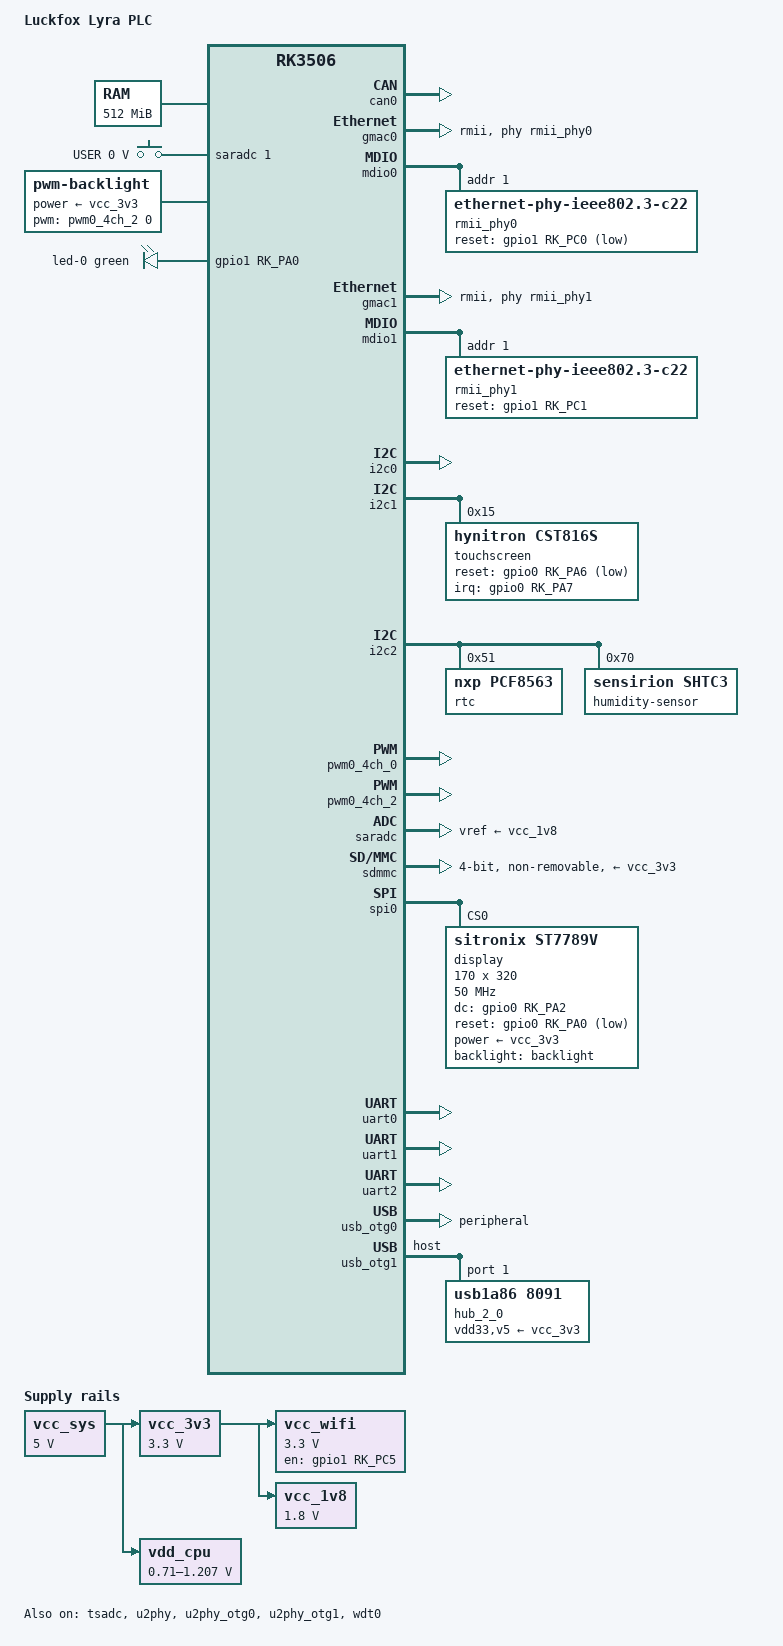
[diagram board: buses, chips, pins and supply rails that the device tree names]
// SPDX-License-Identifier: (GPL-2.0+ OR MIT)
/*
 * Luckfox Lyra PLC: RK3506B DIN-rail controller with a 1.9" ST7789V SPI panel and CST816S touch,
 * two RMII Ethernet ports, RS232 (UART1), RS485/RS422 (UART2), CAN, two relays, PCF8563 RTC and
 * an SHTC3 humidity sensor. The PoE and non-PoE variants are identical to software.
 */

/dts-v1/;
#include <dt-bindings/gpio/gpio.h>
#include <dt-bindings/input/input.h>
#include <dt-bindings/interrupt-controller/irq.h>
#include <dt-bindings/leds/common.h>
#include <dt-bindings/pinctrl/rockchip.h>
#include <dt-bindings/pwm/pwm.h>
#include "rk3506.dtsi"

/ {
	model = "Luckfox Lyra PLC";
	compatible = "luckfox,lyra-plc", "rockchip,rk3506";

	aliases {
		ethernet0 = &gmac0;
		ethernet1 = &gmac1;
		mmc0 = &sdmmc;
	};

	chosen {
		stdout-path = "serial0:1500000n8";
	};

	memory@0 {
		device_type = "memory";
		reg = <0x0 0x20000000>;
	};

	adc-keys {
		compatible = "adc-keys";
		io-channels = <&saradc 1>;
		io-channel-names = "buttons";
		keyup-threshold-microvolt = <1800000>;
		poll-interval = <100>;

		button-user {
			label = "USER";
			linux,code = <KEY_VENDOR>;
			press-threshold-microvolt = <0>;
		};
	};

	/*
	 * GPIO1_C5 is the power enable of the AIC8800DC Wi-Fi/BT module (the
	 * vendor tree calls it BT,power_gpio and lets rfkill raise it; the chip
	 * only shows up on the USB hub once it is high). Described as the
	 * module's supply, switched by the onboard USB device driver from the
	 * hub's port node below; the module carries both radios, so this one
	 * rail cuts Bluetooth too.
	 */
	vcc_wifi: regulator-wifi {
		compatible = "regulator-fixed";
		regulator-name = "vcc_wifi";
		regulator-min-microvolt = <3300000>;
		regulator-max-microvolt = <3300000>;
		gpio = <&gpio1 RK_PC5 GPIO_ACTIVE_HIGH>;
		enable-active-high;
		startup-delay-us = <100000>;
		vin-supply = <&vcc_3v3>;
	};

	backlight: backlight {
		compatible = "pwm-backlight";
		pwms = <&pwm0_4ch_2 0 25000 PWM_POLARITY_INVERTED>;
		brightness-levels = <0 20 40 60 80 100 120 140 160 180 200 220 240 255>;
		default-brightness-level = <10>;
		power-supply = <&vcc_3v3>;
	};

	leds {
		compatible = "gpio-leds";

		led-0 {
			color = <LED_COLOR_ID_GREEN>;
			function = LED_FUNCTION_HEARTBEAT;
			gpios = <&gpio1 RK_PA0 GPIO_ACTIVE_HIGH>;
			linux,default-trigger = "heartbeat";
		};
	};

	vcc_sys: regulator-vcc-sys {
		compatible = "regulator-fixed";
		regulator-name = "vcc_sys";
		regulator-always-on;
		regulator-boot-on;
		regulator-min-microvolt = <5000000>;
		regulator-max-microvolt = <5000000>;
	};

	vcc_3v3: regulator-vcc-3v3 {
		compatible = "regulator-fixed";
		regulator-name = "vcc_3v3";
		regulator-always-on;
		regulator-boot-on;
		regulator-min-microvolt = <3300000>;
		regulator-max-microvolt = <3300000>;
		vin-supply = <&vcc_sys>;
	};

	vcc_1v8: regulator-vcc-1v8 {
		compatible = "regulator-fixed";
		regulator-name = "vcc_1v8";
		regulator-always-on;
		regulator-boot-on;
		regulator-min-microvolt = <1800000>;
		regulator-max-microvolt = <1800000>;
		vin-supply = <&vcc_3v3>;
	};

	/*
	 * The core voltage is a PWM-driven buck: pwm0 channel 0 on RM_IO21,
	 * 5 us period, inverted. U-Boot sets it up; Linux keeps the PWM
	 * running and leaves the voltage alone until an OPP table asks for
	 * more.
	 */
	vdd_cpu: regulator-vdd-cpu {
		compatible = "pwm-regulator";
		pwms = <&pwm0_4ch_0 0 5000 PWM_POLARITY_INVERTED>;
		regulator-name = "vdd_cpu";
		regulator-always-on;
		regulator-boot-on;
		regulator-min-microvolt = <710000>;
		regulator-max-microvolt = <1207000>;
		vin-supply = <&vcc_sys>;
	};
};

/* CAN0 on RM_IO12/13; 120 ohm termination by switch on the terminal block. */
&can0 {
	assigned-clocks = <&cru CLK_CAN0>;
	assigned-clock-rates = <200000000>;
	pinctrl-names = "default";
	pinctrl-0 = <&rm_io12_can0_tx>, <&rm_io13_can0_rx>;
	status = "okay";
};

&cpu0 {
	cpu-supply = <&vdd_cpu>;
};

&cpu1 {
	cpu-supply = <&vdd_cpu>;
};

&cpu2 {
	cpu-supply = <&vdd_cpu>;
};

&gmac0 {
	assigned-clocks = <&cru CLK_MAC_OUT>;
	assigned-clock-rates = <25000000>;
	clock_in_out = "output";
	phy-handle = <&rmii_phy0>;
	phy-mode = "rmii";
	pinctrl-names = "default";
	pinctrl-0 = <&eth_clk0_25m_out_pins>, <&eth_rmii0_miim_pins>, <&eth_rmii0_tx_bus2_pins>,
		    <&eth_rmii0_rx_bus2_pins>, <&eth_rmii0_clk_pins>;
	status = "okay";
};

&mdio0 {
	rmii_phy0: ethernet-phy@1 {
		compatible = "ethernet-phy-ieee802.3-c22";
		reg = <1>;
		clocks = <&cru CLK_MAC_OUT>;
		reset-gpios = <&gpio1 RK_PC0 GPIO_ACTIVE_LOW>;
		reset-assert-us = <20000>;
		reset-deassert-us = <100000>;
	};
};

&gmac1 {
	assigned-clocks = <&cru CLK_MAC_OUT>;
	assigned-clock-rates = <25000000>;
	clock_in_out = "output";
	phy-handle = <&rmii_phy1>;
	phy-mode = "rmii";
	pinctrl-names = "default";
	pinctrl-0 = <&eth_clk1_25m_out_pins>, <&eth_rmii1_miim_pins>, <&eth_rmii1_tx_bus2_pins>,
		    <&eth_rmii1_rx_bus2_pins>, <&eth_rmii1_clk_pins>;
	status = "okay";
};

&mdio1 {
	rmii_phy1: ethernet-phy@1 {
		compatible = "ethernet-phy-ieee802.3-c22";
		reg = <1>;
		clocks = <&cru CLK_MAC_OUT>;
		reset-gpios = <&gpio1 RK_PC1 GPIO_ACTIVE_HIGH>;
		reset-assert-us = <20000>;
		reset-deassert-us = <100000>;
	};
};

&gpio0 {
	gpio-line-names =
		"lcd-reset", "", "lcd-dc", "", "", "", "touch-reset", "touch-irq",
		"", "", "", "", "", "", "", "rs485-txen",
		"", "relay0", "relay1", "", "", "", "", "",
		"", "", "", "", "", "", "", "";
};

/* External I2C header */
&i2c0 {
	pinctrl-names = "default";
	pinctrl-0 = <&rm_io30_i2c0_scl>, <&rm_io31_i2c0_sda>;
	status = "okay";
};

&i2c1 {
	pinctrl-names = "default";
	pinctrl-0 = <&rm_io9_i2c1_scl>, <&rm_io8_i2c1_sda>;
	status = "okay";

	touchscreen@15 {
		compatible = "hynitron,cst816s";
		reg = <0x15>;
		interrupt-parent = <&gpio0>;
		interrupts = <RK_PA7 IRQ_TYPE_EDGE_FALLING>;
		reset-gpios = <&gpio0 RK_PA6 GPIO_ACTIVE_LOW>;
	};
};

&i2c2 {
	pinctrl-names = "default";
	pinctrl-0 = <&rm_io28_i2c2_scl>, <&rm_io29_i2c2_sda>;
	status = "okay";

	rtc@51 {
		compatible = "nxp,pcf8563";
		reg = <0x51>;
		#clock-cells = <0>;
	};

	humidity-sensor@70 {
		compatible = "sensirion,shtc3";
		reg = <0x70>;
	};
};

&pwm0_4ch_0 {
	pinctrl-names = "default";
	pinctrl-0 = <&rm_io21_pwm0_ch0>;
	status = "okay";
};

&pwm0_4ch_2 {
	pinctrl-names = "default";
	pinctrl-0 = <&rm_io5_pwm0_ch2>;
	status = "okay";
};

&saradc {
	vref-supply = <&vcc_1v8>;
	status = "okay";
};

/* 8 GB eMMC, 4-bit DDR52 as the vendor image runs it */
&sdmmc {
	bus-width = <4>;
	cap-mmc-highspeed;
	disable-wp;
	max-frequency = <52000000>;
	mmc-ddr-1_8v;
	no-sd;
	no-sdio;
	non-removable;
	pinctrl-names = "default";
	pinctrl-0 = <&sdmmc_clk_pins>, <&sdmmc_cmd_pins>, <&sdmmc_bus4_pins>;
	vmmc-supply = <&vcc_3v3>;
	vqmmc-supply = <&vcc_1v8>;
	status = "okay";
};

/* 1.9" 170x320 ST7789V panel, fbtft */
&spi0 {
	pinctrl-names = "default";
	pinctrl-0 = <&rm_io1_spi0_clk>, <&rm_io4_spi0_mosi>, <&rm_io3_spi0_csn0>;
	status = "okay";

	display@0 {
		compatible = "sitronix,st7789v";
		reg = <0>;
		spi-max-frequency = <50000000>;
		power-supply = <&vcc_3v3>;
		backlight = <&backlight>;
		/* fbtft (staging) properties; the sitronix,st7789v panel schema does not know them */
		buswidth = <8>;
		fps = <60>;
		/* 1.9" 170x320 glass at columns 35..204 of the controller's 240x320 RAM */
		width = <170>;
		height = <320>;
		col-offset = <35>;
		/* 170x320 glass mounted landscape: rotate the framebuffer (degrees) */
		rotate = <270>;
		dc-gpios = <&gpio0 RK_PA2 GPIO_ACTIVE_HIGH>;
		reset-gpios = <&gpio0 RK_PA0 GPIO_ACTIVE_LOW>;
	};
};

&tsadc {
	status = "okay";
};

&uart0 {
	status = "okay";
};

/* RS232 */
&uart1 {
	pinctrl-names = "default";
	pinctrl-0 = <&rm_io10_uart1_tx>, <&rm_io11_uart1_rx>;
	status = "okay";
};

/* RS485 / RS422, transmit enable on GPIO0_B7 driven from user space */
&uart2 {
	pinctrl-names = "default";
	pinctrl-0 = <&rm_io14_uart2_tx>, <&rm_io16_uart2_rx>;
	status = "okay";
};

&u2phy {
	status = "okay";
};

&u2phy_otg0 {
	status = "okay";
};

&u2phy_otg1 {
	status = "okay";
};

&usb_otg0 {
	dr_mode = "peripheral";
	status = "okay";
};

&usb_otg1 {
	dr_mode = "host";
	#address-cells = <1>;
	#size-cells = <0>;
	status = "okay";

	/* WCH CH334 four-port hub; the Wi-Fi/BT module hangs off its port 1 */
	hub_2_0: hub@1 {
		compatible = "usb1a86,8091";
		reg = <1>;
		vdd33-supply = <&vcc_3v3>;
		v5-supply = <&vcc_3v3>;
		#address-cells = <1>;
		#size-cells = <0>;

		wifi: wifi@1 {
			compatible = "usba69c,88dc";
			reg = <1>;
			vdd-supply = <&vcc_wifi>;
		};
	};
};

&wdt0 {
	status = "okay";
};

